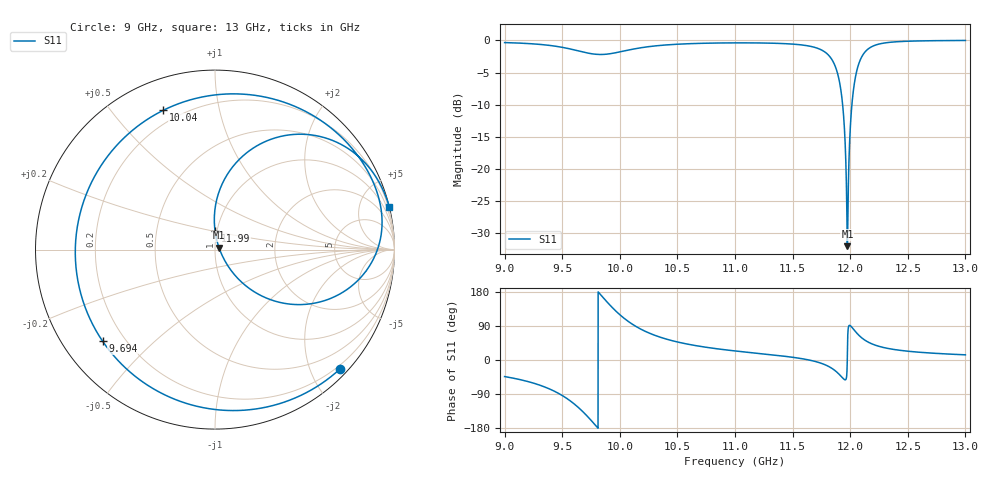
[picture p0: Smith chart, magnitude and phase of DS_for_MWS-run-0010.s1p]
! TOUCHSTONE file generated by CST DESIGN STUDIO
! Date and time: Tue Feb  4 18:15:42 2025
! Project name: C:\Work\MatlabApps\UnitCellOptimizationMatlab\CST\unitcell.cst
! Tree item: Tasks\Sweep1\SPara1\S-Parameters
! Header version: 2024
! Port assignment regex: !\s*Touchstone port\s*([0-9]+)\s*=\s*(CST MWS port|CST DES external port|CST DES block port)\s*(.+)\s* \(\"(.*)\"\)(\s*mode\s*([0-9]+))?.*
! Touchstone port assignment:
! Touchstone port 1 = CST DES external port 1 ("")
# GHz S MA R 50
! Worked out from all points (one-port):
!   4001 points, 9 GHz to 13 GHz, reference 50 ohm
!   lowest |S11| = -32.1 dB at 11.98 GHz (marker M1), VSWR 1.05, Z = 52.3 + j1.14 ohm
!   |S11| at or under -10 dB: 11.93 GHz to 12.01 GHz (80.54 MHz wide, 0.673 % of centre)
!   S11 on the Smith chart (normalised r, x): 9 GHz: 0.14, -2.49; 9.694 GHz: 0.12, -0.35; 10.04 GHz: 0.14, +0.69; 11.99 GHz: 0.98, +0.21; 13 GHz: -0.00, +8.36
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9  0.9628 -43.7
9.277  0.9365 -63.5
9.5  0.8841 -93.7
9.601  0.8459 -115.2
9.694  0.8077 -140.9
9.768  0.7848 -165.0
9.837  0.7775 170.9
10  0.8147 119.6
10.036  0.8278 110.4
10.133  0.862 89.9
10.256  0.8961 70.9
10.5  0.9348 47.6
11  0.9579 23.9
11.5  0.9369 7.2
11.74  0.8524 -7.8
11.868  0.6357 -27.8
11.929  0.3503 -45.6
11.946  0.2347 -50.7
11.963  0.1061 -51.0
11.976  0.02491 26.0
11.988  0.1052 89.9
12  0.2019 90.7
12.015  0.3177 86.3
12.038  0.474 77.8
12.108  0.7669 56.6
12.249  0.9371 36.2
12.5  0.9864 23.2
13  1 13.6
